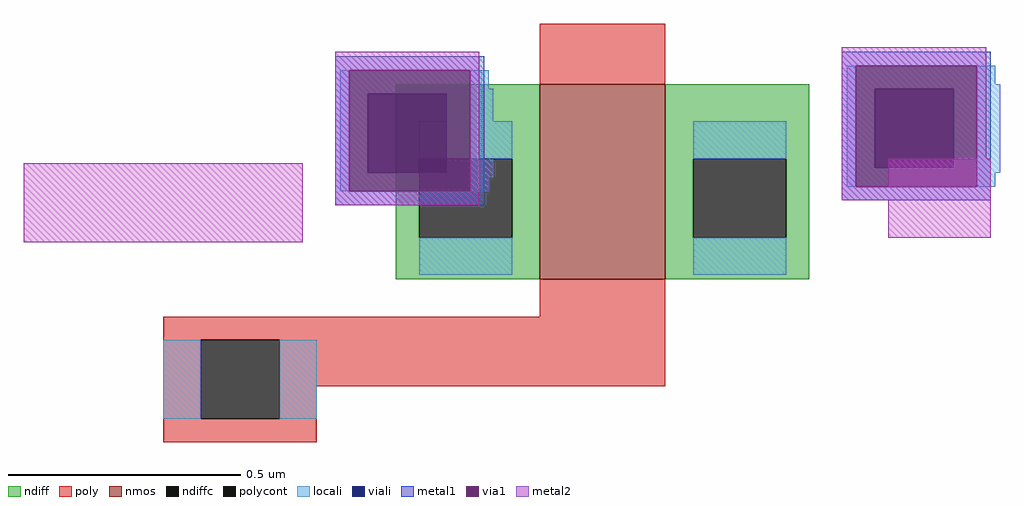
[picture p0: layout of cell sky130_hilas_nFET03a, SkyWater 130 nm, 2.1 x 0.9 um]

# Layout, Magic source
magic
tech sky130A
<< nmos >>
rect 111 35 138 77
<< ndiff >>
rect 80 61 111 77
rect 80 44 85 61
rect 105 44 111 61
rect 80 35 111 44
rect 138 61 169 77
rect 138 44 144 61
rect 164 44 169 61
rect 138 35 169 44
<< ndiffc >>
rect 85 44 105 61
rect 144 44 164 61
<< poly >>
rect 111 77 138 90
rect 111 27 138 35
rect 30 22 138 27
rect 30 5 38 22
rect 55 12 138 22
rect 55 5 63 12
rect 30 0 63 5
<< polycont >>
rect 38 5 55 22
<< locali >>
rect 85 61 105 69
rect 85 36 105 44
rect 144 61 164 69
rect 144 36 164 44
rect 30 5 38 22
rect 55 5 63 22
<< metal2 >>
rect 0 43 60 60
rect 186 44 208 61
use sky130_hilas_li2m2  sky130_hilas_li2m2_0
transform 1 0 176 0 1 52
box 0 0 34 33
use sky130_hilas_li2m2  sky130_hilas_li2m2_1
transform 1 0 67 0 1 51
box 0 0 34 33
<< properties >>
string LEFsite unithd
string LEFclass CORE
string LEFsymmetry X Y R90
<< end >>

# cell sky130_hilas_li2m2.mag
magic
tech sky130A
<< locali >>
rect 1 25 33 29
rect 1 24 34 25
rect 1 7 7 24
rect 24 7 34 24
rect 1 6 34 7
rect 1 3 33 6
<< viali >>
rect 7 7 24 24
<< metal1 >>
rect 0 29 32 32
rect 0 3 3 29
rect 29 3 32 29
rect 0 0 32 3
<< via1 >>
rect 3 24 29 29
rect 3 7 7 24
rect 7 7 24 24
rect 24 7 29 24
rect 3 3 29 7
<< metal2 >>
rect 0 29 31 33
rect 0 3 3 29
rect 29 3 31 29
rect 0 0 31 3
<< properties >>
string LEFsite unithd
string LEFclass CORE
string LEFsymmetry X Y R90
<< end >>
